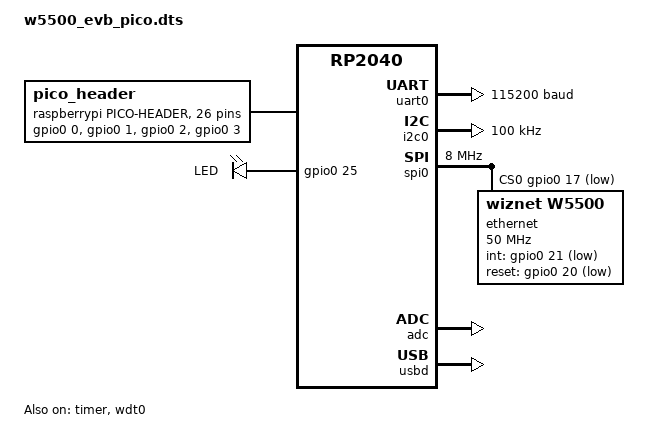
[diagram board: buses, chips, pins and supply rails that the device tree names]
/*
 * Copyright (c) 2021 Yonatan Schachter
 * Copyright (c) 2023 Ian Wakely
 *
 * SPDX-License-Identifier: Apache-2.0
 */

/dts-v1/;

#include <freq.h>

#include <raspberrypi/rpi_pico/rp2040.dtsi>
#include "w5500_evb_pico-pinctrl.dtsi"
#include <zephyr/dt-bindings/pwm/pwm.h>

#include <zephyr/dt-bindings/i2c/i2c.h>

/ {
	chosen {
		zephyr,sram = &sram0;
		zephyr,flash = &flash0;
		zephyr,flash-controller = &ssi;
		zephyr,console = &uart0;
		zephyr,shell-uart = &uart0;
		zephyr,code-partition = &code_partition;
	};

	pico_header: connector {
		compatible = "raspberrypi,pico-header";
		#gpio-cells = <2>;
		gpio-map-mask = <0xffffffff 0xffffffc0>;
		gpio-map-pass-thru = <0 0x3f>;
		gpio-map = <0 0 &gpio0 0 0>,	/* GP0 */
			   <1 0 &gpio0 1 0>,	/* GP1 */
			   <2 0 &gpio0 2 0>,	/* GP2 */
			   <3 0 &gpio0 3 0>,	/* GP3 */
			   <4 0 &gpio0 4 0>,	/* GP4 */
			   <5 0 &gpio0 5 0>,	/* GP5 */
			   <6 0 &gpio0 6 0>,	/* GP6 */
			   <7 0 &gpio0 7 0>,	/* GP7 */
			   <8 0 &gpio0 8 0>,	/* GP8 */
			   <9 0 &gpio0 9 0>,	/* GP9 */
			   <10 0 &gpio0 10 0>,	/* GP10 */
			   <11 0 &gpio0 11 0>,	/* GP11 */
			   <12 0 &gpio0 12 0>,	/* GP12 */
			   <13 0 &gpio0 13 0>,	/* GP13 */
			   <14 0 &gpio0 14 0>,	/* GP14 */
			   <15 0 &gpio0 15 0>,	/* GP15 */
			   <16 0 &gpio0 16 0>,	/* GP16 */
			   <17 0 &gpio0 17 0>,	/* GP17 */
			   <18 0 &gpio0 18 0>,	/* GP18 */
			   <19 0 &gpio0 19 0>,	/* GP19 */
			   <20 0 &gpio0 20 0>,	/* GP20 */
			   <21 0 &gpio0 21 0>,	/* GP21 */
			   <22 0 &gpio0 22 0>,	/* GP22 */
			   <26 0 &gpio0 26 0>,	/* GP26 */
			   <27 0 &gpio0 27 0>,	/* GP27 */
			   <28 0 &gpio0 28 0>;	/* GP28 */
	};

	leds {
		compatible = "gpio-leds";

		led0: led_0 {
			gpios = <&gpio0 25 GPIO_ACTIVE_HIGH>;
			label = "LED";
		};
	};

	pwm_leds {
		compatible = "pwm-leds";
		status = "disabled";

		pwm_led0: pwm_led_0 {
			pwms = <&pwm 9 PWM_MSEC(20) PWM_POLARITY_NORMAL>;
			label = "PWM_LED";
		};
	};

	aliases {
		led0 = &led0;
		pwm-led0 = &pwm_led0;
		watchdog0 = &wdt0;
	};
};

&flash0 {
	/* 16MB of flash minus the 0x100 used for
	 * the second stage bootloader
	 */
	reg = <0x10000000 DT_SIZE_M(16)>;

	partitions {
		compatible = "fixed-partitions";
		#address-cells = <1>;
		#size-cells = <1>;

		/* Reserved memory for the second stage bootloader */
		second_stage_bootloader: partition@0 {
			label = "second_stage_bootloader";
			reg = <0x00000000 0x100>;
			read-only;
		};

		/*
		 * Usable flash. Starts at 0x100, after the bootloader. The partition
		 * size is 16MB minus the 0x100 bytes taken by the bootloader.
		 */
		code_partition: partition@100 {
			label = "code-partition";
			reg = <0x100 (DT_SIZE_M(16) - 0x100)>;
			read-only;
		};
	};
};

&uart0 {
	current-speed = <115200>;
	status = "okay";
	pinctrl-0 = <&uart0_default>;
	pinctrl-names = "default";
};

&gpio0 {
	status = "okay";
};

&i2c0 {
	clock-frequency = <I2C_BITRATE_STANDARD>;
	status = "okay";
	pinctrl-0 = <&i2c0_default>;
	pinctrl-names = "default";
};

&i2c1 {
	pinctrl-0 = <&i2c1_default>;
	pinctrl-names = "default";
	status = "disabled";
	clock-frequency = <I2C_BITRATE_FAST>;
};

&spi0 {
	clock-frequency = <DT_FREQ_M(8)>;
	status = "okay";
	pinctrl-0 = <&spi0_default>;
	pinctrl-names = "default";
	cs-gpios = <&gpio0 17 GPIO_ACTIVE_LOW>;

	ethernet: w5500@0 {
		compatible = "wiznet,w5500";
		reg = <0x0>;
		spi-max-frequency = <50000000>;
		int-gpios = <&gpio0 21 GPIO_ACTIVE_LOW>;
		reset-gpios = <&gpio0 20 GPIO_ACTIVE_LOW>;
		local-mac-address = [00 00 00 01 02 03];
		status = "okay";
	};
};

&timer {
	status = "okay";
};

&wdt0 {
	status = "okay";
};

&adc {
	status = "okay";
	pinctrl-0 = <&adc_default>;
	pinctrl-names = "default";
};

zephyr_udc0: &usbd {
	status = "okay";
};

&pwm {
	pinctrl-0 = <&pwm_ch4b_default>;
	pinctrl-names = "default";
	divider-int-0 = <255>;
};

&vreg {
	regulator-always-on;
	regulator-allowed-modes = <REGULATOR_RPI_PICO_MODE_NORMAL>;
};

pico_spi: &spi0 {};

pico_i2c0: &i2c0 {};

pico_i2c1: &i2c1 {};
